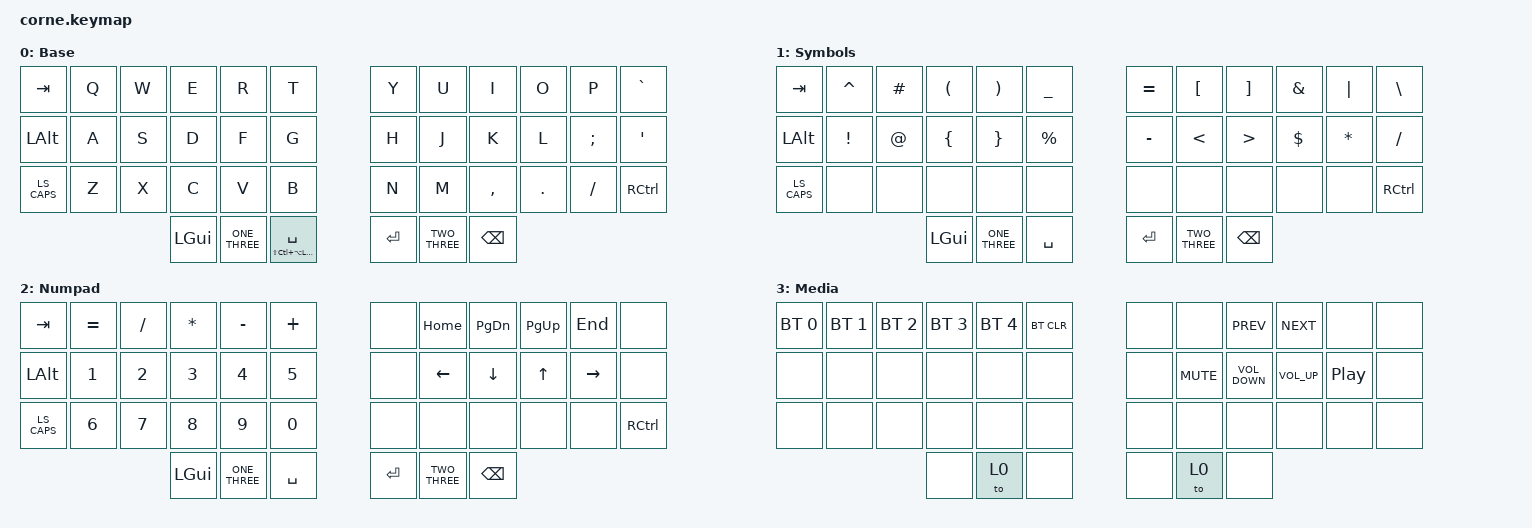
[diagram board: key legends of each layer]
/*
 * Copyright (c) 2020 The ZMK Contributors
 *
 * SPDX-License-Identifier: MIT
 */

#include <behaviors.dtsi>
#include <dt-bindings/zmk/bt.h>
#include <dt-bindings/zmk/keys.h>

/ {
    behaviors {
        TWO_THREE: TWO_THREE {
            compatible = "zmk,behavior-tap-dance";
            label = "TWO_THREE";
            #binding-cells = <0>;
            bindings = <&mo 2>, <&mo 3>;

            tapping-term-ms = <150>;
        };

        ONE_THREE: ONE_THREE {
            compatible = "zmk,behavior-tap-dance";
            label = "ONE_THREE";
            #binding-cells = <0>;
            bindings = <&mo 1>, <&mo 3>;

            tapping-term-ms = <150>;
        };

        LS_CAPS: LS_CAPS {
            compatible = "zmk,behavior-tap-dance";
            label = "LS_CAPS";
            #binding-cells = <0>;
            bindings = <&SKQR LEFT_SHIFT>, <&kp CAPS>;
        };

        SK500: SK500 {
            compatible = "zmk,behavior-sticky-key";
            label = "SK500";
            bindings = <&kp>;
            #binding-cells = <1>;
            release-after-ms = <500>;
            ignore-modifiers;
        };

        SKQR: SKQR {
            compatible = "zmk,behavior-sticky-key";
            label = "SKQR";
            bindings = <&kp>;
            #binding-cells = <1>;
            release-after-ms = <1000>;
            quick-release;
            ignore-modifiers;
        };

        HYPER_SPACE: HYPER_SPACE {
            compatible = "zmk,behavior-hold-tap";
            label = "HYPER_SPACE";
            bindings = <&kp>, <&kp>;

            #binding-cells = <2>;
            tapping-term-ms = <0>;
            flavor = "tap-preferred";
            retro-tap;
            require-prior-idle-ms = <125>;
            quick-tap-ms = <200>;
        };
    };

    combos {
        compatible = "zmk,combos";

        combo_esc {
            bindings = <&kp ESCAPE>;
            key-positions = <0 1>;
            layers = <0 2 1>;
            timeout-ms = <50>;
        };

        combo_hyper_left {
            bindings = <&SK500 LS(LA(LC(LEFT_GUI)))>;
            key-positions = <28 29>;
            timeout-ms = <50>;
            layers = <0 1 2>;
        };

        combo_hyper_right {
            bindings = <&SK500 RS(RA(RC(RIGHT_GUI)))>;
            key-positions = <30 31>;
            timeout-ms = <50>;
            layers = <0 1 2>;
        };
    };

    keymap {
        compatible = "zmk,keymap";

        base_layer {
            // -----------------------------------------------------------------------------------------
            // |  TAB |  Q  |  W  |  E  |  R  |  T  |   |  Y  |  U   |  I  |  O  |  P  | BSPC |
            // | CTRL |  A  |  S  |  D  |  F  |  G  |   |  H  |  J   |  K  |  L  |  ;  |  '   |
            // | SHFT |  Z  |  X  |  C  |  V  |  B  |   |  N  |  M   |  ,  |  .  |  /  | ESC  |
            //                    | GUI | LWR | SPC |   | ENT | RSE  | ALT |

            bindings = <
&kp TAB       &kp Q  &kp W  &kp E         &kp R       &kp T                                      &kp Y    &kp U       &kp I          &kp O    &kp P          &kp GRAVE
&kp LEFT_ALT  &kp A  &kp S  &kp D         &kp F       &kp G                                      &kp H    &kp J       &kp K          &kp L    &kp SEMICOLON  &kp SQT
&LS_CAPS      &kp Z  &kp X  &kp C         &kp V       &kp B                                      &kp N    &kp M       &kp COMMA      &kp DOT  &kp FSLH       &kp RIGHT_CONTROL
                            &kp LEFT_GUI  &ONE_THREE  &HYPER_SPACE LS(LC(LA(LEFT_GUI))) SPACE    &kp RET  &TWO_THREE  &kp BACKSPACE
            >;

            label = "Base";
        };

        symbols_layer {
            bindings = <
&kp TAB       &kp CARET        &kp HASH     &kp LEFT_PARENTHESIS  &kp RIGHT_PARENTHESIS  &kp UNDERSCORE    &kp EQUAL  &kp LEFT_BRACKET  &kp RIGHT_BRACKET  &kp AMPERSAND  &kp PIPE      &kp BACKSLASH
&kp LEFT_ALT  &kp EXCLAMATION  &kp AT_SIGN  &kp LEFT_BRACE        &kp RIGHT_BRACE        &kp PERCENT       &kp MINUS  &kp LESS_THAN     &kp GREATER_THAN   &kp DOLLAR     &kp ASTERISK  &kp SLASH
&LS_CAPS      &none            &none        &none                 &none                  &none             &none      &none             &none              &none          &none         &kp RIGHT_CONTROL
                                            &kp LEFT_GUI          &ONE_THREE             &kp SPACE         &kp ENTER  &TWO_THREE        &kp BACKSPACE
            >;

            label = "Symbols";
        };

        numpad_layer {
            bindings = <
&kp TAB       &kp EQUAL     &kp SLASH     &kp ASTERISK  &kp MINUS     &kp PLUS        &none      &kp HOME    &kp PAGE_DOWN  &kp PAGE_UP   &kp END    &none
&kp LEFT_ALT  &kp NUMBER_1  &kp NUMBER_2  &kp NUMBER_3  &kp NUMBER_4  &kp NUMBER_5    &none      &kp LEFT    &kp DOWN       &kp UP_ARROW  &kp RIGHT  &none
&LS_CAPS      &kp NUMBER_6  &kp NUMBER_7  &kp NUMBER_8  &kp NUMBER_9  &kp NUMBER_0    &none      &none       &none          &none         &none      &kp RIGHT_CONTROL
                                          &kp LEFT_GUI  &ONE_THREE    &kp SPACE       &kp ENTER  &TWO_THREE  &kp BACKSPACE
            >;

            label = "Numpad";
        };

        media_layer {
            bindings = <
&bt BT_SEL 0  &bt BT_SEL 1  &bt BT_SEL 2  &bt BT_SEL 3  &bt BT_SEL 4  &bt BT_CLR    &none  &none       &kp C_PREV         &kp C_NEXT       &none     &none
&none         &none         &none         &none         &none         &none         &none  &kp C_MUTE  &kp C_VOLUME_DOWN  &kp C_VOLUME_UP  &kp C_PP  &none
&none         &none         &none         &none         &none         &none         &none  &none       &none              &none            &none     &none
                                          &none         &to 0         &none         &none  &to 0       &none
            >;

            label = "Media";
        };
    };
};
